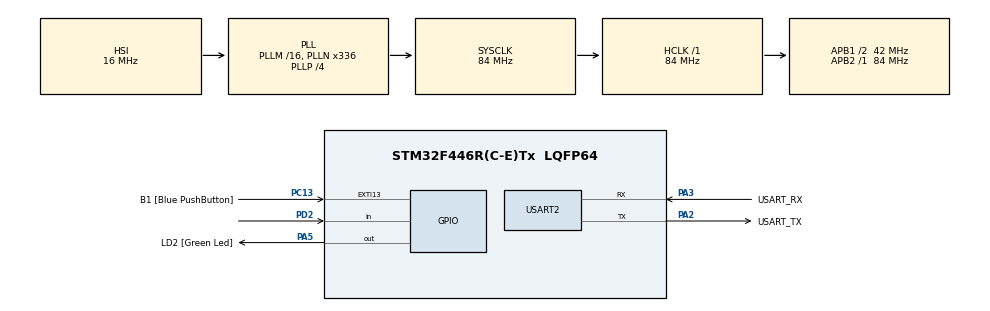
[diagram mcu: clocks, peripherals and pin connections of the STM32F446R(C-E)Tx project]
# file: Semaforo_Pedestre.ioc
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Mcu.Family=STM32F4
Mcu.Name=STM32F446R(C-E)Tx
Mcu.Package=LQFP64
NVIC.PriorityGroup=NVIC_PRIORITYGROUP_0
PA13.GPIO_Label=TMS
PA13.Mode=Serial_Wire
PA13.Signal=SYS_JTMS-SWDIO
PA14.GPIO_Label=TCK
PA14.Mode=Serial_Wire
PA14.Signal=SYS_JTCK-SWCLK
PA2.GPIO_Label=USART_TX
PA2.Mode=Asynchronous
PA2.Signal=USART2_TX
PA3.GPIO_Label=USART_RX
PA3.Mode=Asynchronous
PA3.Signal=USART2_RX
PA5.GPIO_Label=LD2 [Green Led]
PA5.Signal=GPIO_Output
PB3.GPIO_Label=SWO
PB3.Signal=SYS_JTDO-SWO
PC13.GPIO_Label=B1 [Blue PushButton]
PC13.GPIO_ModeDefaultEXTI=GPIO_MODE_IT_FALLING
PC13.Signal=GPXTI13
PC14-OSC32_IN.Mode=LSE-External-Oscillator
PC14-OSC32_IN.Signal=RCC_OSC32_IN
PC15-OSC32_OUT.Mode=LSE-External-Oscillator
PC15-OSC32_OUT.Signal=RCC_OSC32_OUT
PD2.GPIO_PuPd=GPIO_PULLUP
PD2.Signal=GPIO_Input
PH0-OSC_IN.Mode=HSE-External-Oscillator
PH0-OSC_IN.Signal=RCC_OSC_IN
PH1-OSC_OUT.Mode=HSE-External-Oscillator
PH1-OSC_OUT.Signal=RCC_OSC_OUT
ProjectManager.HeapSize=0x200
ProjectManager.StackSize=0x400
ProjectManager.TargetToolchain=STM32CubeIDE
RCC.48MHZClocksFreq_Value=84000000
RCC.AHBFreq_Value=84000000
RCC.APB1CLKDivider=RCC_HCLK_DIV2
RCC.APB1Freq_Value=42000000
RCC.APB1TimFreq_Value=84000000
RCC.APB2Freq_Value=84000000
RCC.APB2TimFreq_Value=84000000
RCC.CortexFreq_Value=84000000
RCC.FLatency-AdvancedSettings=FLASH_LATENCY_2
RCC.HCLKFreq_Value=84000000
RCC.HSE_VALUE=8000000
RCC.HSI_VALUE=16000000
RCC.PLLN=336
RCC.PLLP=RCC_PLLP_DIV4
RCC.SYSCLKFreq_VALUE=84000000
RCC.SYSCLKSource=RCC_SYSCLKSOURCE_PLLCLK
RCC.USBFreq_Value=168000000
RCC.VCOOutputFreq_Value=336000000
TIM1.AutoReloadPreload=TIM_AUTORELOAD_PRELOAD_ENABLE
TIM1.Period=0xFFFF-1
TIM1.Prescaler=84-1
USART2.VirtualMode=VM_ASYNC
VP_TIM1_VS_ClockSourceINT.Mode=Internal
board=NUCLEO-F446RE

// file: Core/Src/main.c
/* USER CODE BEGIN Header */
/**
  ******************************************************************************
  * @file           : main.c
  * @brief          : Main program body
  ******************************************************************************
   * //  Atividade 7 - Semáforo com faixa de pedestres utilizando FSM
  * //  Disciplina: Microcontroladores de 32 bits
  * //  Curso de Pós Graduação em Sistemas Embarcados - SENAI-SP
  * //  Aluno: Marcos Flávio Soares
  * @attention

  *
  * Copyright (c) 2022 STMicroelectronics.
  * All rights reserved.
  *
  * This software is licensed under terms that can be found in the LICENSE file
  * in the root directory of this software component.
  * If no LICENSE file comes with this software, it is provided AS-IS.
  *
  ******************************************************************************
  */
/* USER CODE END Header */
#include "main.h"

/* USER CODE BEGIN Includes */
#include <stdio.h>
#include "fonts.h"
#include "tft.h"
#include "user_setting.h"
#include "functions.h"

struct State{
	uint16_t out;		// Saída para o estado
	uint16_t wait;		// Tempo de espera do estado
	uint8_t next[4];	//Vetor de próximos estados
};
typedef const struct State tipoS;
// Apelidos parareferenciar os estados da FSM
// #define Vm 0
// #define Vd 1
// #define Am 2
// #defineAp 3

enum estados {Vm, Vd, Am, Ap, Vm10s, Am10s};
tipoS Fsm[6] =
{
		// Estado  cor Delay [0] [1] [2] [3]
		// [0]pedestre não apertou e não tem falha
		// [1]pedestre não apertou e tem falha]
		// [2] pedestre apertou e não tem falha
		// [3] pedestre apertou tem falha
		// Vm10s >> transição para aguardar 10s no sinal vermelho
		// Am10s >> estado alternativo para chegar ao Vm10, depois de apertado o botão
		[Vm]={RED, 5000, {Vd, Ap, Vd, Ap} },
		[Vd]={GREEN, 5000,{Am, Ap, Am10s , Ap } },
		[Am]={YELLOW, 1000, {Vm, Ap, Vm10s, Ap}},
		[Ap]={BLACK, 1000, {Vm, Am, Vm10s, Am}},
		[Vm10s] = {RED, 10000, {Vd, Ap, Vd, Ap }},
		[Am10s] = {YELLOW, 1000, {Vm10s, Ap, Vm10s, Am}},

};

unsigned char cState; //Estado atual é Vm, Vd, Am, Ap ou Vd10s

#define B2PIN GPIO_PIN_2
#define B2PORT GPIOD

/* USER CODE END Includes */

TIM_HandleTypeDef htim1;

UART_HandleTypeDef huart2;

/* USER CODE BEGIN PV */
uint16_t ID = 0;
uint32_t  size= 0;
char codigoID[10];
/* USER CODE END PV */

void SystemClock_Config(void);
static void MX_GPIO_Init(void);
static void MX_USART2_UART_Init(void);
static void MX_TIM1_Init(void);

int main(void)
{
  /* USER CODE BEGIN 1 */
	uint8_t input;
	//char rx;
	//uint32_t x=160, y=120;
  /* USER CODE END 1 */

  /* MCU Configuration--------------------------------------------------------*/

  /* Reset of all peripherals, Initializes the Flash interface and the Systick. */
  HAL_Init();

  /* Configure the system clock */
  SystemClock_Config();

  /* Initialize all configured peripherals */
  MX_GPIO_Init();
  MX_USART2_UART_Init();
  MX_TIM1_Init();
  /* USER CODE BEGIN 2 */
  //Sequência de inicialização do LCD

 	    tft_gpio_init();                  //Inicializa os GPIOs do LCD (evita uso do CubeMX)

 	    HAL_TIM_Base_Start(&htim1);      //Inicializa o Timer1 (base de tempo de uso do LCD)

 	    ID = tft_readID();               //Lê o ID do LCD (poderia ser chamada pela inicialização do LCD)

 	    HAL_Delay(100);

 	    tft_init (ID);                   //Inicializa o LCD de acordo com seu ID
 	    //reset();
 	   //Inverte as cores do display (efeito negativo)
 	    //\invertDisplay(1);

 	   //HAL_Delay(5000);
 	   setRotation(1);
 	  fillScreen(BLACK);               //Preenche a tela em uma só cor

//FSM
 cState = Vm;	//Estado inicial

  /* USER CODE END 2 */

  /* Infinite loop */
  /* USER CODE BEGIN WHILE */
  while (1)
  {
	  // Preparação da tela
	  fillRect(250, 30, 60, 120, WHITE);
	  fillRect(260, 40, 40, 40, BLACK);
	  fillRect(260, 100, 40, 40, BLACK);
	  fillRect(40, 30, 60, 160, WHITE);
	  fillCircle(70, 60, 25, BLACK);
	  fillCircle(70, 110, 20, BLACK);
	  fillCircle(70, 160, 20, BLACK);
    /* USER CODE END WHILE */

    /* USER CODE BEGIN 3 */
	  //1. Saída baseada no estado atual

	  switch (Fsm[cState].out) {
		case RED:
			fillCircle(70, 60, 25, Fsm[cState].out);
			fillRect(260, 100, 40, 40, GREEN);
			break;
		case YELLOW:
			fillCircle(70, 110, 20, Fsm[cState].out);
			fillRect(260, 40, 40, 40, RED);
			break;
		case GREEN:
			fillCircle(70, 160, 20, Fsm[cState].out);
			fillRect(260, 40, 40, 40, RED);
			break;
		default:
			break;
	  }

	  //2. Aguarda o tempo predefinido para o estado

	  HAL_Delay(Fsm[cState].wait);

	  //3. Lê a entrada

	  input = ((!HAL_GPIO_ReadPin(B1_GPIO_Port,B1_Pin))<<1) | ((!HAL_GPIO_ReadPin(B2PORT,B2PIN)<<0));

	  //4. Vai para o próximo estado, que depende da entrada atual

	  cState = Fsm[cState].next[input];

  }
  /* USER CODE END 3 */
}

void SystemClock_Config(void)
{
  RCC_OscInitTypeDef RCC_OscInitStruct = {0};
  RCC_ClkInitTypeDef RCC_ClkInitStruct = {0};

  /** Configure the main internal regulator output voltage
  */
  __HAL_RCC_PWR_CLK_ENABLE();
  __HAL_PWR_VOLTAGESCALING_CONFIG(PWR_REGULATOR_VOLTAGE_SCALE3);
  /** Initializes the RCC Oscillators according to the specified parameters
  * in the RCC_OscInitTypeDef structure.
  */
  RCC_OscInitStruct.OscillatorType = RCC_OSCILLATORTYPE_HSI;
  RCC_OscInitStruct.HSIState = RCC_HSI_ON;
  RCC_OscInitStruct.HSICalibrationValue = RCC_HSICALIBRATION_DEFAULT;
  RCC_OscInitStruct.PLL.PLLState = RCC_PLL_ON;
  RCC_OscInitStruct.PLL.PLLSource = RCC_PLLSOURCE_HSI;
  RCC_OscInitStruct.PLL.PLLM = 16;
  RCC_OscInitStruct.PLL.PLLN = 336;
  RCC_OscInitStruct.PLL.PLLP = RCC_PLLP_DIV4;
  RCC_OscInitStruct.PLL.PLLQ = 2;
  RCC_OscInitStruct.PLL.PLLR = 2;
  if (HAL_RCC_OscConfig(&RCC_OscInitStruct) != HAL_OK)
  {
    Error_Handler();
  }
  /** Initializes the CPU, AHB and APB buses clocks
  */
  RCC_ClkInitStruct.ClockType = RCC_CLOCKTYPE_HCLK|RCC_CLOCKTYPE_SYSCLK
                              |RCC_CLOCKTYPE_PCLK1|RCC_CLOCKTYPE_PCLK2;
  RCC_ClkInitStruct.SYSCLKSource = RCC_SYSCLKSOURCE_PLLCLK;
  RCC_ClkInitStruct.AHBCLKDivider = RCC_SYSCLK_DIV1;
  RCC_ClkInitStruct.APB1CLKDivider = RCC_HCLK_DIV2;
  RCC_ClkInitStruct.APB2CLKDivider = RCC_HCLK_DIV1;

  if (HAL_RCC_ClockConfig(&RCC_ClkInitStruct, FLASH_LATENCY_2) != HAL_OK)
  {
    Error_Handler();
  }
}

static void MX_TIM1_Init(void)
{

  TIM_ClockConfigTypeDef sClockSourceConfig = {0};
  TIM_MasterConfigTypeDef sMasterConfig = {0};

  htim1.Instance = TIM1;
  htim1.Init.Prescaler = 84-1;
  htim1.Init.CounterMode = TIM_COUNTERMODE_UP;
  htim1.Init.Period = 0xFFFF-1;
  htim1.Init.ClockDivision = TIM_CLOCKDIVISION_DIV1;
  htim1.Init.RepetitionCounter = 0;
  htim1.Init.AutoReloadPreload = TIM_AUTORELOAD_PRELOAD_ENABLE;
  if (HAL_TIM_Base_Init(&htim1) != HAL_OK)
  {
    Error_Handler();
  }
  sClockSourceConfig.ClockSource = TIM_CLOCKSOURCE_INTERNAL;
  if (HAL_TIM_ConfigClockSource(&htim1, &sClockSourceConfig) != HAL_OK)
  {
    Error_Handler();
  }
  sMasterConfig.MasterOutputTrigger = TIM_TRGO_RESET;
  sMasterConfig.MasterSlaveMode = TIM_MASTERSLAVEMODE_DISABLE;
  if (HAL_TIMEx_MasterConfigSynchronization(&htim1, &sMasterConfig) != HAL_OK)
  {
    Error_Handler();
  }

}

static void MX_USART2_UART_Init(void)
{

  huart2.Instance = USART2;
  huart2.Init.BaudRate = 115200;
  huart2.Init.WordLength = UART_WORDLENGTH_8B;
  huart2.Init.StopBits = UART_STOPBITS_1;
  huart2.Init.Parity = UART_PARITY_NONE;
  huart2.Init.Mode = UART_MODE_TX_RX;
  huart2.Init.HwFlowCtl = UART_HWCONTROL_NONE;
  huart2.Init.OverSampling = UART_OVERSAMPLING_16;
  if (HAL_UART_Init(&huart2) != HAL_OK)
  {
    Error_Handler();
  }

}

static void MX_GPIO_Init(void)
{
  GPIO_InitTypeDef GPIO_InitStruct = {0};

  /* GPIO Ports Clock Enable */
  __HAL_RCC_GPIOC_CLK_ENABLE();
  __HAL_RCC_GPIOH_CLK_ENABLE();
  __HAL_RCC_GPIOA_CLK_ENABLE();
  __HAL_RCC_GPIOD_CLK_ENABLE();
  __HAL_RCC_GPIOB_CLK_ENABLE();

  /*Configure GPIO pin Output Level */
  HAL_GPIO_WritePin(LD2_GPIO_Port, LD2_Pin, GPIO_PIN_RESET);

  /*Configure GPIO pin : B1_Pin */
  GPIO_InitStruct.Pin = B1_Pin;
  GPIO_InitStruct.Mode = GPIO_MODE_IT_FALLING;
  GPIO_InitStruct.Pull = GPIO_NOPULL;
  HAL_GPIO_Init(B1_GPIO_Port, &GPIO_InitStruct);

  /*Configure GPIO pin : LD2_Pin */
  GPIO_InitStruct.Pin = LD2_Pin;
  GPIO_InitStruct.Mode = GPIO_MODE_OUTPUT_PP;
  GPIO_InitStruct.Pull = GPIO_NOPULL;
  GPIO_InitStruct.Speed = GPIO_SPEED_FREQ_LOW;
  HAL_GPIO_Init(LD2_GPIO_Port, &GPIO_InitStruct);

  /*Configure GPIO pin : PD2 */
  GPIO_InitStruct.Pin = GPIO_PIN_2;
  GPIO_InitStruct.Mode = GPIO_MODE_INPUT;
  GPIO_InitStruct.Pull = GPIO_PULLUP;
  HAL_GPIO_Init(GPIOD, &GPIO_InitStruct);

}

void Error_Handler(void)
{
  __disable_irq();
  while (1)
  {
  }
}
